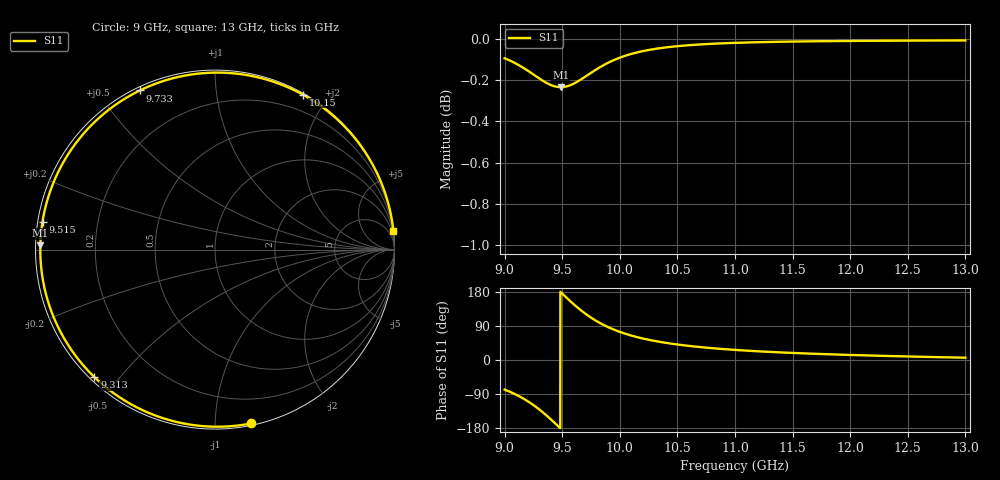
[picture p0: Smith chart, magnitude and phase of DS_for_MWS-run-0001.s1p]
! TOUCHSTONE file generated by CST DESIGN STUDIO
! Date and time: Tue Feb  4 17:50:41 2025
! Project name: C:\Work\MatlabApps\UnitCellOptimizationMatlab\CST\unitcell.cst
! Tree item: Tasks\Sweep1\SPara1\S-Parameters
! Header version: 2024
! Port assignment regex: !\s*Touchstone port\s*([0-9]+)\s*=\s*(CST MWS port|CST DES external port|CST DES block port)\s*(.+)\s* \(\"(.*)\"\)(\s*mode\s*([0-9]+))?.*
! Touchstone port assignment:
! Touchstone port 1 = CST DES external port 1 ("")
# GHz S MA R 50
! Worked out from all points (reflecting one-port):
!   4001 points, 9 GHz to 13 GHz, reference 50 ohm
!   lowest |S11| = -0.2 dB at 9.488 GHz (marker M1), VSWR 74.47, Z = 0.671 + j0.615 ohm
!   phase of S11 starts at -78 deg and turns -276 deg over the sweep
!   S11 on the Smith chart (normalised r, x): 9 GHz: 0.01, -1.23; 9.313 GHz: 0.01, -0.43; 9.515 GHz: 0.01, +0.08; 9.733 GHz: 0.01, +0.63; 10.15 GHz: 0.01, +1.72; 13 GHz: 0, +19
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9  0.9894 -78.2
9.079  0.9871 -88.4
9.178  0.9835 -104.5
9.248  0.9805 -118.4
9.313  0.9778 -133.4
9.359  0.976 -145.1
9.408  0.9745 -158.5
9.449  0.9737 -170.1
9.488  0.9735 178.6
9.5  0.9735 175.1
9.515  0.9736 170.8
9.568  0.9745 155.8
9.628  0.9764 139.7
9.68  0.9784 127.0
9.733  0.9806 115.3
9.787  0.9829 104.7
9.847  0.9851 94.4
9.923  0.9876 83.4
10  0.9897 74.2
10.15  0.9926 60.4
10.309  0.9946 49.9
10.5  0.9961 40.9
10.722  0.9972 33.4
11  0.9979 26.6
11.5  0.9987 18.6
12  0.999 13.3
12.5  0.9992 9.3
13  0.9993 6.0
